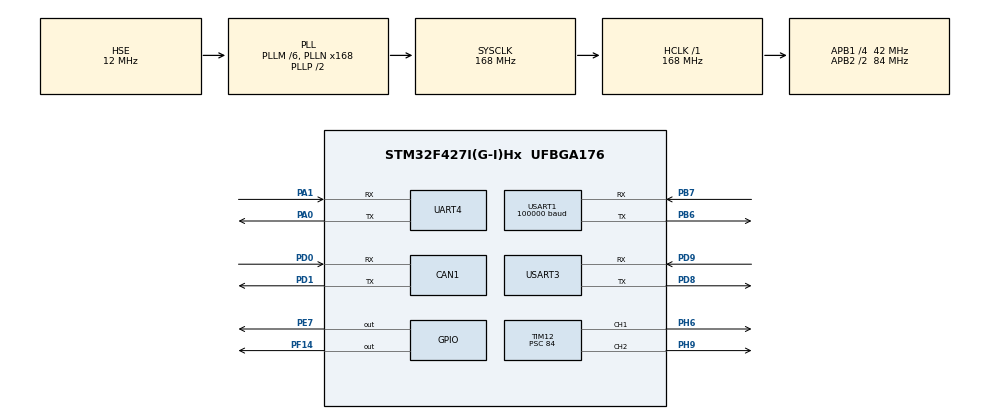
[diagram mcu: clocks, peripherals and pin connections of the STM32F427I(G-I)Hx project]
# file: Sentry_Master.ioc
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CAN1.CalculateTimeBit=1142
CAN1.CalculateTimeQuantum=380.95238095238096
CAN1.TimeSeg1=CAN_BS1_9TQ
CAN1.TimeSeg2=CAN_BS2_3TQ
CAN1.TransmitFifoPriority=ENABLE
Dma.Request0=USART1_RX
Dma.USART1_RX.0.Direction=DMA_PERIPH_TO_MEMORY
Dma.USART1_RX.0.FIFOMode=DMA_FIFOMODE_DISABLE
Dma.USART1_RX.0.Instance=DMA2_Stream2
Dma.USART1_RX.0.MemDataAlignment=DMA_MDATAALIGN_BYTE
Dma.USART1_RX.0.MemInc=DMA_MINC_ENABLE
Dma.USART1_RX.0.Mode=DMA_CIRCULAR
Dma.USART1_RX.0.PeriphDataAlignment=DMA_PDATAALIGN_BYTE
Dma.USART1_RX.0.PeriphInc=DMA_PINC_DISABLE
Dma.USART1_RX.0.Priority=DMA_PRIORITY_LOW
Mcu.Family=STM32F4
Mcu.Name=STM32F427I(G-I)Hx
Mcu.Package=UFBGA176
NVIC.CAN1_RX0_IRQn=true\:1\:0\:true\:false\:true\:true
NVIC.DMA2_Stream2_IRQn=true\:0\:0\:false\:false\:true\:false
NVIC.PriorityGroup=NVIC_PRIORITYGROUP_2
NVIC.RCC_IRQn=true\:0\:0\:false\:false\:true\:true
NVIC.TIM6_DAC_IRQn=true\:0\:0\:false\:false\:true\:true
NVIC.UART4_IRQn=true\:0\:1\:true\:false\:true\:true
NVIC.USART1_IRQn=true\:1\:0\:true\:false\:true\:true
NVIC.USART3_IRQn=true\:1\:0\:true\:false\:true\:true
PA0/WKUP.Mode=Asynchronous
PA0/WKUP.Signal=UART4_TX
PA1.Mode=Asynchronous
PA1.Signal=UART4_RX
PA13.Mode=Serial_Wire
PA13.Signal=SYS_JTMS-SWDIO
PA14.Mode=Serial_Wire
PA14.Signal=SYS_JTCK-SWCLK
PB6.Mode=Asynchronous
PB6.Signal=USART1_TX
PB7.Mode=Asynchronous
PB7.Signal=USART1_RX
PD0.Mode=Master
PD0.Signal=CAN1_RX
PD1.Mode=Master
PD1.Signal=CAN1_TX
PD8.Mode=Asynchronous
PD8.Signal=USART3_TX
PD9.Mode=Asynchronous
PD9.Signal=USART3_RX
PE7.Signal=GPIO_Output
PF14.Signal=GPIO_Output
PH0/OSC_IN.Mode=HSE-External-Oscillator
PH0/OSC_IN.Signal=RCC_OSC_IN
PH1/OSC_OUT.Mode=HSE-External-Oscillator
PH1/OSC_OUT.Signal=RCC_OSC_OUT
PH6.Signal=S_TIM12_CH1
PH9.Signal=S_TIM12_CH2
ProjectManager.HeapSize=0x1000
ProjectManager.StackSize=0x400
ProjectManager.TargetToolchain=MDK-ARM V5
RCC.48MHZClocksFreq_Value=84000000
RCC.AHBFreq_Value=168000000
RCC.APB1CLKDivider=RCC_HCLK_DIV4
RCC.APB1Freq_Value=42000000
RCC.APB1TimFreq_Value=84000000
RCC.APB2CLKDivider=RCC_HCLK_DIV2
RCC.APB2Freq_Value=84000000
RCC.APB2TimFreq_Value=168000000
RCC.CortexFreq_Value=168000000
RCC.HCLKFreq_Value=168000000
RCC.HSE_VALUE=12000000
RCC.HSI_VALUE=16000000
RCC.LSE_VALUE=32768
RCC.PLLM=6
RCC.PLLN=168
RCC.PLLSourceVirtual=RCC_PLLSOURCE_HSE
RCC.SYSCLKFreq_VALUE=168000000
RCC.SYSCLKSource=RCC_SYSCLKSOURCE_PLLCLK
RCC.VCOOutputFreq_Value=336000000
SH.S_TIM12_CH1.0=TIM12_CH1,PWM Generation1 CH1
SH.S_TIM12_CH2.0=TIM12_CH2,PWM Generation2 CH2
TIM12.Channel-PWM\ Generation1\ CH1=TIM_CHANNEL_1
TIM12.Channel-PWM\ Generation2\ CH2=TIM_CHANNEL_2
TIM12.Period=2500
TIM12.Prescaler=84
TIM2.Period=40
TIM2.Prescaler=42000
TIM6.Period=2000
TIM6.Prescaler=42
UART4.Parity=PARITY_EVEN
UART4.VirtualMode=Asynchronous
USART1.BaudRate=100000
USART1.Mode=MODE_RX
USART1.Parity=PARITY_EVEN
USART1.VirtualMode=VM_ASYNC
USART3.VirtualMode=VM_ASYNC
VP_TIM2_VS_ClockSourceINT.Mode=Internal
VP_TIM6_VS_ClockSourceINT.Mode=Enable_Timer
board=Sentry_Master

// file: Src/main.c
/**
  ******************************************************************************
  * @file           : main.c
  * @brief          : Main program body
  ******************************************************************************
  ** This notice applies to any and all portions of this file
  * that are not between comment pairs USER CODE BEGIN and
  * USER CODE END. Other portions of this file, whether
  * inserted by the user or by software development tools
  * are owned by their respective copyright owners.
  *
  * COPYRIGHT(c) 2018 STMicroelectronics
  *
  * Redistribution and use in source and binary forms, with or without modification,
  * are permitted provided that the following conditions are met:
  *   1. Redistributions of source code must retain the above copyright notice,
  *      this list of conditions and the following disclaimer.
  *   2. Redistributions in binary form must reproduce the above copyright notice,
  *      this list of conditions and the following disclaimer in the documentation
  *      and/or other materials provided with the distribution.
  *   3. Neither the name of STMicroelectronics nor the names of its contributors
  *      may be used to endorse or promote products derived from this software
  *      without specific prior written permission.
  *
  * THIS SOFTWARE IS PROVIDED BY THE COPYRIGHT HOLDERS AND CONTRIBUTORS "AS IS"
  * AND ANY EXPRESS OR IMPLIED WARRANTIES, INCLUDING, BUT NOT LIMITED TO, THE
  * IMPLIED WARRANTIES OF MERCHANTABILITY AND FITNESS FOR A PARTICULAR PURPOSE ARE
  * DISCLAIMED. IN NO EVENT SHALL THE COPYRIGHT HOLDER OR CONTRIBUTORS BE LIABLE
  * FOR ANY DIRECT, INDIRECT, INCIDENTAL, SPECIAL, EXEMPLARY, OR CONSEQUENTIAL
  * DAMAGES (INCLUDING, BUT NOT LIMITED TO, PROCUREMENT OF SUBSTITUTE GOODS OR
  * SERVICES; LOSS OF USE, DATA, OR PROFITS; OR BUSINESS INTERRUPTION) HOWEVER
  * CAUSED AND ON ANY THEORY OF LIABILITY, WHETHER IN CONTRACT, STRICT LIABILITY,
  * OR TORT (INCLUDING NEGLIGENCE OR OTHERWISE) ARISING IN ANY WAY OUT OF THE USE
  * OF THIS SOFTWARE, EVEN IF ADVISED OF THE POSSIBILITY OF SUCH DAMAGE.
  *
  ******************************************************************************
  */
#include "main.h"
#include "stm32f4xx_hal.h"
#include "can.h"
#include "dma.h"
#include "tim.h"
#include "usart.h"
#include "gpio.h"

/* USER CODE BEGIN Includes */
#include "testTask.h"
#include "controlTask.h"
#include "sensor.h"
#include "dma_hku.h"
extern uint8_t RemoteBuffer[8];
extern uint8_t *visionBuffer;
extern DMA_HandleTypeDef hdma_usart1_rx;
extern uint8_t collect_mode_code;
/* USER CODE END Includes */

/* USER CODE BEGIN PV */
/* Private variables ---------------------------------------------------------*/
uint8_t canRxMsg[8];
/* USER CODE END PV */

void SystemClock_Config(void);

/* USER CODE BEGIN PFP */
/* Private function prototypes -----------------------------------------------*/

/* USER CODE END PFP */

int main(void)
{

  /* MCU Configuration----------------------------------------------------------*/

  /* Reset of all peripherals, Initializes the Flash interface and the Systick. */
  HAL_Init();

  /* Configure the system clock */
  SystemClock_Config();

  /* Initialize all configured peripherals */
  MX_GPIO_Init();
  MX_DMA_Init();
  MX_TIM6_Init();
  MX_TIM2_Init();
  MX_USART1_UART_Init();
  MX_CAN1_Init();
  MX_USART3_UART_Init();
  MX_UART4_Init();
  MX_TIM12_Init();
  /* USER CODE BEGIN 2 */
	RED_LED_OFF();
	GREEN_LED_OFF();
	HAL_TIM_Base_Start_IT(&htim6);
	HAL_TIM_Base_Start_IT(&htim12);
	HAL_TIM_PWM_Start(&htim12,TIM_CHANNEL_1);
	HAL_TIM_PWM_Start(&htim12,TIM_CHANNEL_2);
	//SET_BIT(huart1.Instance->CR1, USART_CR1_PEIE | USART_CR1_RXNEIE);
	SET_BIT(huart3.Instance->CR1, USART_CR1_PEIE | USART_CR1_RXNEIE);
	SET_BIT(huart4.Instance->CR1, USART_CR1_PEIE | USART_CR1_RXNEIE);

	dbus_uart_init();
	CAN_Initialize();
	BumpSensorInit();
	/*
	HAL_CAN_Start(&hcan1);
	CAN_TxHeaderTypeDef can1Header;
	can1Header.IDE = CAN_ID_STD;
	can1Header.StdId = 0x200;
	can1Header.DLC = 8;
	*/
  /* USER CODE END 2 */

  /* Infinite loop */
  /* USER CODE BEGIN WHILE */
  while (1)
  {
		HAL_Delay(1);

  /* USER CODE END WHILE */

  }

}

void SystemClock_Config(void)
{

  RCC_OscInitTypeDef RCC_OscInitStruct;
  RCC_ClkInitTypeDef RCC_ClkInitStruct;

    /**Configure the main internal regulator output voltage
    */
  __HAL_RCC_PWR_CLK_ENABLE();

  __HAL_PWR_VOLTAGESCALING_CONFIG(PWR_REGULATOR_VOLTAGE_SCALE1);

    /**Initializes the CPU, AHB and APB busses clocks
    */
  RCC_OscInitStruct.OscillatorType = RCC_OSCILLATORTYPE_HSE;
  RCC_OscInitStruct.HSEState = RCC_HSE_ON;
  RCC_OscInitStruct.PLL.PLLState = RCC_PLL_ON;
  RCC_OscInitStruct.PLL.PLLSource = RCC_PLLSOURCE_HSE;
  RCC_OscInitStruct.PLL.PLLM = 6;
  RCC_OscInitStruct.PLL.PLLN = 168;
  RCC_OscInitStruct.PLL.PLLP = RCC_PLLP_DIV2;
  RCC_OscInitStruct.PLL.PLLQ = 4;
  if (HAL_RCC_OscConfig(&RCC_OscInitStruct) != HAL_OK)
  {
    _Error_Handler(__FILE__, __LINE__);
  }

    /**Initializes the CPU, AHB and APB busses clocks
    */
  RCC_ClkInitStruct.ClockType = RCC_CLOCKTYPE_HCLK|RCC_CLOCKTYPE_SYSCLK
                              |RCC_CLOCKTYPE_PCLK1|RCC_CLOCKTYPE_PCLK2;
  RCC_ClkInitStruct.SYSCLKSource = RCC_SYSCLKSOURCE_PLLCLK;
  RCC_ClkInitStruct.AHBCLKDivider = RCC_SYSCLK_DIV1;
  RCC_ClkInitStruct.APB1CLKDivider = RCC_HCLK_DIV4;
  RCC_ClkInitStruct.APB2CLKDivider = RCC_HCLK_DIV2;

  if (HAL_RCC_ClockConfig(&RCC_ClkInitStruct, FLASH_LATENCY_5) != HAL_OK)
  {
    _Error_Handler(__FILE__, __LINE__);
  }

    /**Configure the Systick interrupt time
    */
  HAL_SYSTICK_Config(HAL_RCC_GetHCLKFreq()/1000);

    /**Configure the Systick
    */
  HAL_SYSTICK_CLKSourceConfig(SYSTICK_CLKSOURCE_HCLK);

  /* SysTick_IRQn interrupt configuration */
  HAL_NVIC_SetPriority(SysTick_IRQn, 0, 0);
}

void _Error_Handler(char *file, int line)
{
  while(1)
  {
  }
}

/************************ (C) COPYRIGHT STMicroelectronics *****END OF FILE****/
